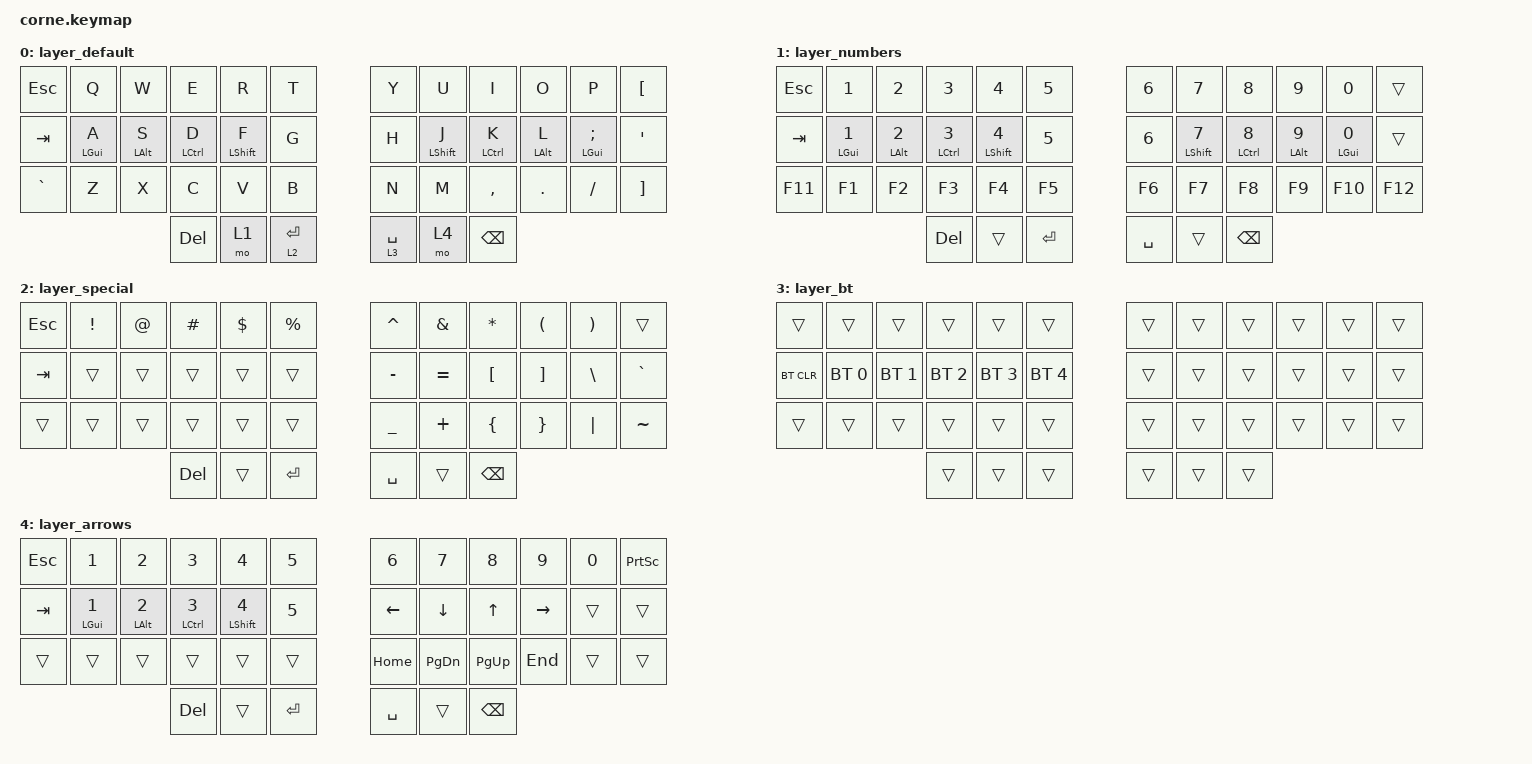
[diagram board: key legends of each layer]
/*
 * Copyright (c) 2020 The ZMK Contributors
 *
 * SPDX-License-Identifier: MIT
 */

#include <behaviors.dtsi>
#include <dt-bindings/zmk/bt.h>
#include <dt-bindings/zmk/keys.h>

/ {
    combos {
        compatible = "zmk,combos";

        combo_esc {
            timeout-ms = <50>;
            key-positions = <0 1>;
            bindings = <&kp ESC>;
        };
    };

    behaviors {
        ss_hs_modmorph: ss_hs_modmorph {
            compatible = "zmk,behavior-mod-morph";
            label = "SS_HS_MODMORPH";
            bindings = <&kp M>, <&kp RIGHT_BRACKET>;

            #binding-cells = <0>;
            mods = <(MOD_LSFT|MOD_RSFT)>;
        };

        kh_hs_tapdance: kh_hs_tapdance {
            compatible = "zmk,behavior-tap-dance";
            label = "KH_HS_TAPDANCE";
            #binding-cells = <0>;
            tapping-term-ms = <200>;
            bindings = <&kp LEFT_BRACKET>, <&kp RIGHT_BRACKET>;
        };

        hrm: hrm {
            compatible = "zmk,behavior-hold-tap";
            #binding-cells = <2>;
            flavor = "tap-preferred";
            tapping-term-ms = <225>;
            quick-tap-ms = <200>;
            require-prior-idle-ms = <170>;
            bindings = <&kp>, <&kp>;
        };
    };

    keymap {
        compatible = "zmk,keymap";

        layer_default {
            // -----------------------------------------------------------------------------------------
            // |  TAB |  Q  |  W  |  E  |  R  |  T  |   |  Y  |  U   |  I  |  O  |  P  | BKSP |
            // | CTRL |  A  |  S  |  D  |  F  |  G  |   |  H  |  J   |  K  |  L  |  ;  |  '   |
            // | SHFT |  Z  |  X  |  C  |  V  |  B  |   |  N  |  M   |  ,  |  .  |  /  | ESC  |
            //                    | GUI | LWR | SPC |   | ENT | RSE  | ALT |

            bindings = <
&kp ESC    &kp Q            &kp W            &kp E                &kp R              &kp T        &kp Y        &kp U              &kp I                &kp O            &kp P               &kp LEFT_BRACKET
&kp TAB    &hrm LEFT_GUI A  &hrm LEFT_ALT S  &hrm LEFT_CONTROL D  &hrm LEFT_SHIFT F  &kp G        &kp H        &hrm LEFT_SHIFT J  &hrm LEFT_CONTROL K  &hrm LEFT_ALT L  &hrm LEFT_GUI SEMI  &kp SQT
&kp GRAVE  &kp Z            &kp X            &kp C                &kp V              &kp B        &kp N        &kp M              &kp COMMA            &kp DOT          &kp FSLH            &kp RIGHT_BRACKET
                                             &kp DEL              &mo 1              &lt 2 RET    &lt 3 SPACE  &mo 4              &kp BACKSPACE
            >;
        };

        layer_numbers {
            // -----------------------------------------------------------------------------------------
            // |  TAB |  1  |  2  |  3  |  4  |  5  |   |  6  |  7  |  8  |  9  |  0  | BKSP |
            // | BTCLR| BT1 | BT2 | BT3 | BT4 | BT5 |   | LFT | DWN |  UP | RGT |     |      |
            // | SHFT |     |     |     |     |     |   |     |     |     |     |     |      |
            //                    | GUI |     | SPC |   | ENT |     | ALT |

            bindings = <
&kp ESC  &kp N1                  &kp N2                  &kp N3               &kp N4                    &kp N5          &kp N6        &kp N7                    &kp N8               &kp N9                  &kp N0                  &trans
&kp TAB  &hrm LEFT_GUI NUMBER_1  &hrm LEFT_ALT NUMBER_2  &hrm LCTRL NUMBER_3  &hrm LEFT_SHIFT NUMBER_4  &kp NUMBER_5    &kp NUMBER_6  &hrm LEFT_SHIFT NUMBER_7  &hrm LCTRL NUMBER_8  &hrm LEFT_ALT NUMBER_9  &hrm LEFT_GUI NUMBER_0  &trans
&kp F11  &kp F1                  &kp F2                  &kp F3               &kp F4                    &kp F5          &kp F6        &kp F7                    &kp F8               &kp F9                  &kp F10                 &kp F12
                                                         &kp DEL              &trans                    &kp RET         &kp SPACE     &trans                    &kp BACKSPACE
            >;
        };

        layer_special {
            // -----------------------------------------------------------------------------------------
            // |  TAB |  !  |  @  |  #  |  $  |  %  |   |  ^  |  &  |  *  |  (  |  )  | BKSP |
            // | CTRL |     |     |     |     |     |   |  -  |  =  |  [  |  ]  |  \  |  `   |
            // | SHFT |     |     |     |     |     |   |  _  |  +  |  {  |  }  | "|" |  ~   |
            //                    | GUI |     | SPC |   | ENT |     | ALT |

            bindings = <
&kp ESC  &kp EXCL  &kp AT  &kp HASH  &kp DLLR  &kp PRCNT    &kp CARET  &kp AMPS   &kp ASTRK      &kp LPAR  &kp RPAR  &trans
&kp TAB  &trans    &trans  &trans    &trans    &trans       &kp MINUS  &kp EQUAL  &kp LBKT       &kp RBKT  &kp BSLH  &kp GRAVE
&trans   &trans    &trans  &trans    &trans    &trans       &kp UNDER  &kp PLUS   &kp LBRC       &kp RBRC  &kp PIPE  &kp TILDE
                           &kp DEL   &trans    &kp RET      &kp SPACE  &trans     &kp BACKSPACE
            >;
        };

        layer_bt {
            bindings = <
&trans      &trans        &trans        &trans        &trans        &trans          &trans  &trans  &trans  &trans  &trans  &trans
&bt BT_CLR  &bt BT_SEL 0  &bt BT_SEL 1  &bt BT_SEL 2  &bt BT_SEL 3  &bt BT_SEL 4    &trans  &trans  &trans  &trans  &trans  &trans
&trans      &trans        &trans        &trans        &trans        &trans          &trans  &trans  &trans  &trans  &trans  &trans
                                        &trans        &trans        &trans          &trans  &trans  &trans
            >;
        };

        layer_arrows {
            bindings = <
&kp ESC  &kp N1                  &kp N2                  &kp N3               &kp N4                    &kp N5          &kp N6     &kp N7         &kp N8         &kp N9     &kp N0  &kp PRINTSCREEN
&kp TAB  &hrm LEFT_GUI NUMBER_1  &hrm LEFT_ALT NUMBER_2  &hrm LCTRL NUMBER_3  &hrm LEFT_SHIFT NUMBER_4  &kp NUMBER_5    &kp LEFT   &kp DOWN       &kp UP         &kp RIGHT  &trans  &trans
&trans   &trans                  &trans                  &trans               &trans                    &trans          &kp HOME   &kp PAGE_DOWN  &kp PAGE_UP    &kp END    &trans  &trans
                                                         &kp DEL              &trans                    &kp RET         &kp SPACE  &trans         &kp BACKSPACE
            >;
        };
    };
};
